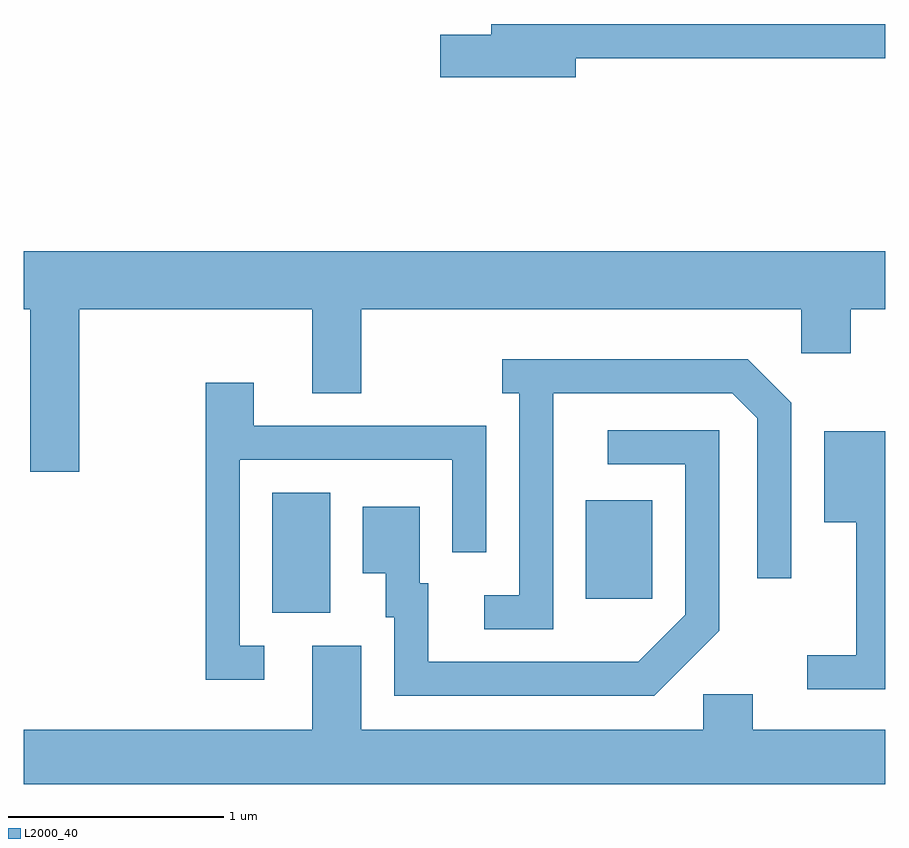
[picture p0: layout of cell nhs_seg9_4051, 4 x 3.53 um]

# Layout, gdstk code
import gdstk
lib = gdstk.Library(unit=1e-6, precision=1e-09)
def R(c, l, rs):  # rectangles x0, y0, x1, y1
    for r in rs: c.add(gdstk.rectangle(r[:2], r[2:], *l))
def P(c, l, *ps):  # polygons
    for p in ps: c.add(gdstk.Polygon(p, *l))
L2000_40 = (2000, 40)

nhs_seg9_4051 = lib.new_cell('nhs_seg9_4051')
R(nhs_seg9_4051, L2000_40, [(304.766,2059.226,305.034,2059.784), (306.221,2059.291,306.529,2059.749)])
P(nhs_seg9_4051, L2000_40, [(306.174,2061.801),(307.611,2061.801),(307.611,2061.959),(305.781,2061.959),(305.781,2061.909),(305.546,2061.909),(305.546,2061.711),(306.174,2061.711)],
  [(303.869,2060.636),(304.951,2060.636),(304.951,2060.246),(305.179,2060.246),(305.179,2060.636),(307.221,2060.636),(307.221,2060.431),(307.449,2060.431),(307.449,2060.636),(307.611,2060.636),(307.611,2060.904),(303.611,2060.904),(303.611,2060.636),(303.641,2060.636),(303.641,2059.881),(303.869,2059.881)],
  [(306.069,2060.246),(306.899,2060.246),(307.016,2060.129),(307.016,2059.387),(307.174,2059.387),(307.174,2060.202),(306.972,2060.404),(305.833,2060.404),(305.833,2060.246),(305.911,2060.246),(305.911,2059.309),(305.748,2059.309),(305.748,2059.151),(306.069,2059.151)],
  [(304.728,2059.074),(304.614,2059.074),(304.614,2059.936),(305.601,2059.936),(305.601,2059.508),(305.759,2059.508),(305.759,2060.094),(304.679,2060.094),(304.679,2060.294),(304.456,2060.294),(304.456,2058.916),(304.728,2058.916)],
  [(306.839,2059.144),(306.839,2060.074),(306.323,2060.074),(306.323,2059.916),(306.681,2059.916),(306.681,2059.217),(306.464,2058.999),(305.489,2058.999),(305.489,2059.364),(305.449,2059.364),(305.449,2059.719),(305.186,2059.719),(305.186,2059.411),(305.291,2059.411),(305.291,2059.206),(305.331,2059.206),(305.331,2058.841),(306.537,2058.841)],
  [(307.611,2060.069),(307.326,2060.069),(307.326,2059.646),(307.476,2059.646),(307.476,2059.029),(307.248,2059.029),(307.248,2058.871),(307.611,2058.871)],
  [(307.611,2058.684),(306.994,2058.684),(306.994,2058.849),(306.766,2058.849),(306.766,2058.684),(305.179,2058.684),(305.179,2059.074),(304.951,2059.074),(304.951,2058.684),(303.611,2058.684),(303.611,2058.432),(307.611,2058.432)])

lib.write_gds('nhs_seg9_4051.gds')
